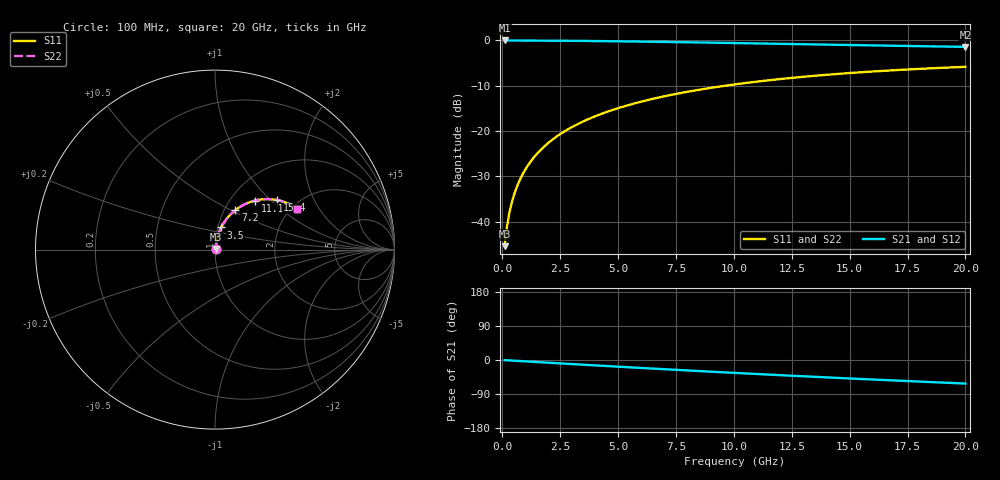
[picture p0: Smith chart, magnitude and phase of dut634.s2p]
! Touchstone file exported from HFSS 2026.1.0
!  File:  C:/ffzhzh/LocalFiles/Ansys_Project_Files/temp_train_BSMRDL_634_1783016642_51716.aedt
!  Generated:  02:25:33 AM Jul  3, 2026
!  Design:  BSMRDL
!  Project:  temp_train_BSMRDL_634_1783016642_51716
! Variables:
!  h_bsmrdl = 4.65um
!  h_ox = 20um
!  h_rdl = 5um
!  h_sub = 80um
!  h_tmrdl = 5um
!  h_tsv = 80um
!  h_via = 3um
!  l_bsmrdl = 982.74um
!  l_sub = 1382.74um
!  l_tmrdl = 200um
!  m_sub = 200um
!  pitch = 53.16um
!  r_tsv = 6um
!  s_tmrdl = 10um
!  w_bsmrdl = 22.02um
!  w_sub = 500um
!  w_tmrdl = 12um
!  x_tsv_center1 = 206um
!  x_tsv_center2 = 1210.76um
!  x_tsv_center3 = 1422.76um
!  x_tsv_center4 = 2427.52um
!  x_tsv_center5 = 2639.52um
!  x_tsv_center6 = 3644.28um
# GHz S MA R 50.000000
! Terminal data exported
! Port[1] = BSM_RDL1_1_T1
! Port[2] = BSM_RDL1_1_T2
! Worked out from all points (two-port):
!   200 points, 100 MHz to 20 GHz, reference 50 ohm
!   highest |S21| = -0.03 dB at 100 MHz (marker M1); lowest = -1.4 dB at 20 GHz (marker M2)
!   |S21| within 3 dB of the highest: start of sweep to end of sweep
!   lowest |S11| = -45.4 dB at 100 MHz (marker M3), VSWR 1.01, Z = 50.4 + j0.406 ohm
!   |S11| at or under -10 dB: start of sweep to 9.63 GHz
!   |S22| runs from -45.4 to -5.8 dB; largest |S21 - S12| = 4.4e-15
!   S11 on the Smith chart (normalised r, x): 100 MHz: 1.01, +0.01; 3.5 GHz: 1.04, +0.26; 7.2 GHz: 1.13, +0.53; 11.1 GHz: 1.29, +0.81; 15.4 GHz: 1.60, +1.10; 20 GHz: 2.13, +1.31
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0.1  0.005399 48.3  0.9964 -0.4  0.9964 -0.4  0.005399 48.3
! Gamma 0 0 0 0
! Port Impedance 50 0 50 0
0.2  0.008806 63.8  0.9962 -0.7  0.9962 -0.7  0.008806 63.8
0.3  0.01238 70.1  0.9959 -1.1  0.9959 -1.1  0.01238 70.1
0.4  0.01598 73.5  0.9957 -1.5  0.9957 -1.5  0.01598 73.5
0.5  0.0196 75.7  0.9956 -1.8  0.9956 -1.8  0.0196 75.7
0.7  0.02689 78.0  0.9953 -2.6  0.9953 -2.6  0.02689 78.0
1  0.03792 79.4  0.9947 -3.6  0.9947 -3.6  0.03791 79.4
1.4  0.05263 79.6  0.9938 -5.1  0.9938 -5.1  0.05263 79.6
1.7  0.06363 79.3  0.9929 -6.1  0.9929 -6.1  0.06363 79.3
2  0.07457 78.7  0.9919 -7.2  0.9919 -7.2  0.07457 78.7
2.7  0.0998 76.8  0.989 -9.7  0.989 -9.7  0.0998 76.8
3.5  0.128 74.4  0.9849 -12.5  0.9849 -12.5  0.128 74.4
4.2  0.152 72.2  0.9808 -14.9  0.9808 -14.9  0.152 72.2
5  0.1788 69.6  0.9755 -17.7  0.9755 -17.7  0.1788 69.6
6.8  0.2358 63.9  0.9619 -23.7  0.9619 -23.7  0.2358 63.9
7.2  0.2479 62.6  0.9586 -25.0  0.9586 -25.0  0.2479 62.6
10.1  0.3285 53.7  0.9328 -34.3  0.9328 -34.3  0.3285 53.7
11.1  0.3533 50.7  0.9234 -37.4  0.9234 -37.4  0.3533 50.7
13.4  0.4048 44.0  0.9018 -44.2  0.9018 -44.2  0.4048 44.1
15.4  0.4432 38.5  0.8836 -49.9  0.8836 -49.9  0.4432 38.6
16.7  0.4651 35.0  0.8723 -53.5  0.8723 -53.5  0.4651 35.1
20  0.5103 26.4  0.847 -62.2  0.847 -62.2  0.5103 26.6
